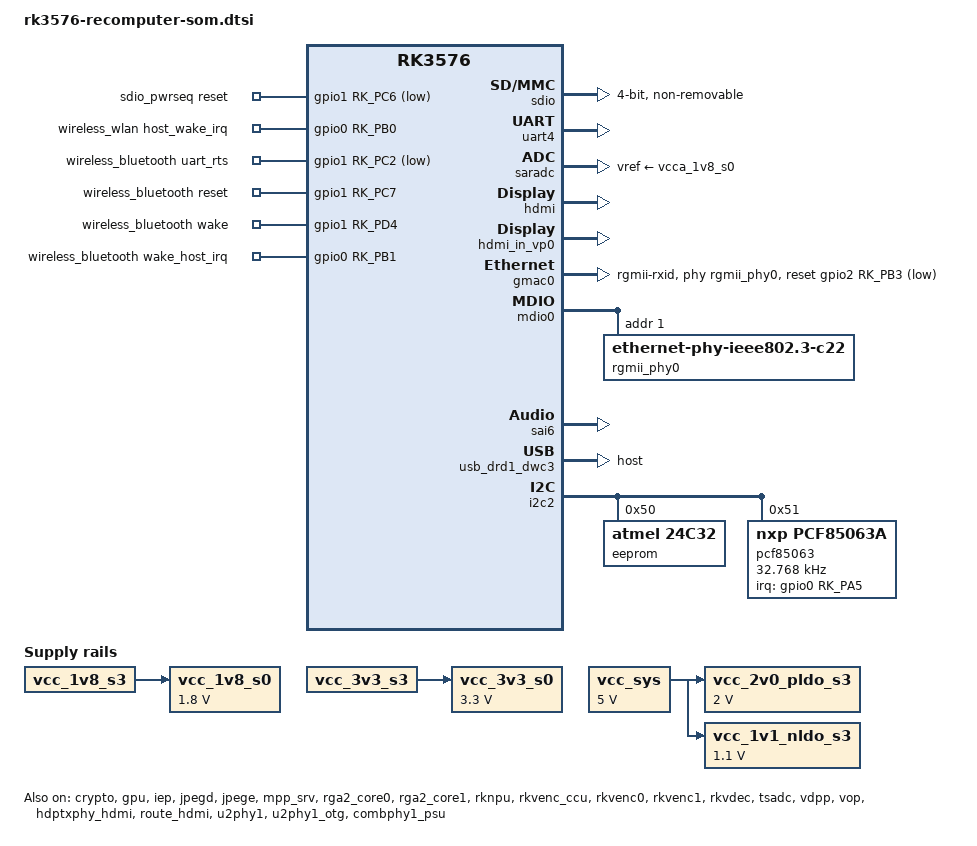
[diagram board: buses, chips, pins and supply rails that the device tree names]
// SPDX-License-Identifier: (GPL-2.0+ OR MIT)
/*
 * reComputer RK3576 SoM (SOM board, 200-pin BTB carrier)
 *
 * On-module devices:
 *   - RK3576 + RK806S PMIC + LPDDR5 + eMMC
 *   - WiFi/BT combo module (FCS960KAAMD, SDIO + UART)
 *   - GMAC0 PHY RTL8211F-CG (RGMII, MDI routed to carrier)
 *   - EEPROM FT24C32A + RTC PCF85063 (shared I2C2_M0)
 *   - HDMI TX (enable/HPD/DDC generated on module)
 *   - USB3 OTG0 (DP alt-mode capable) / USB2 OTG0 / USB2+USB3 OTG1
 *
 * Carrier-board devices belong to the board dts including this file.
 *
 * Copyright (c) 2026 Seeed Studio
 */

#include <dt-bindings/usb/pd.h>
#include <dt-bindings/gpio/gpio.h>
#include <dt-bindings/pwm/pwm.h>
#include <dt-bindings/pinctrl/rockchip.h>
#include <dt-bindings/input/rk-input.h>
#include <dt-bindings/display/drm_mipi_dsi.h>
#include <dt-bindings/display/rockchip_vop.h>
#include <dt-bindings/sensor-dev.h>
#include "rk3576.dtsi"
#include "rk3576-linux.dtsi"
#include "rk3576-rk806.dtsi"

/ {
	vcc_sys: vcc5v0-sys {
		compatible = "regulator-fixed";
		regulator-name = "vcc_sys";
		regulator-always-on;
		regulator-boot-on;
		regulator-min-microvolt = <5000000>;
		regulator-max-microvolt = <5000000>;
	};

	vcc_2v0_pldo_s3: vcc-2v0-pldo-s3 {
		compatible = "regulator-fixed";
		regulator-name = "vcc_2v0_pldo_s3";
		regulator-boot-on;
		regulator-always-on;
		regulator-min-microvolt = <2000000>;
		regulator-max-microvolt = <2000000>;
		vin-supply = <&vcc_sys>;
	};

	vcc_1v1_nldo_s3: vcc-1v1-nldo-s3 {
		compatible = "regulator-fixed";
		regulator-name = "vcc_1v1_nldo_s3";
		regulator-boot-on;
		regulator-always-on;
		regulator-min-microvolt = <1100000>;
		regulator-max-microvolt = <1100000>;
		vin-supply = <&vcc_sys>;
	};

	vcc_1v8_s0: vcc-1v8-s0 {
		compatible = "regulator-fixed";
		regulator-name = "vcc_1v8_s0";
		regulator-boot-on;
		regulator-always-on;
		regulator-min-microvolt = <1800000>;
		regulator-max-microvolt = <1800000>;
		vin-supply = <&vcc_1v8_s3>;
	};

	vcc_3v3_s0: vcc-3v3-s0 {
		compatible = "regulator-fixed";
		regulator-name = "vcc_3v3_s0";
		regulator-boot-on;
		regulator-always-on;
		regulator-min-microvolt = <3300000>;
		regulator-max-microvolt = <3300000>;
		vin-supply = <&vcc_3v3_s3>;
	};

	sdio_pwrseq: sdio-pwrseq {
		compatible = "mmc-pwrseq-simple";
		pinctrl-names = "default";
		pinctrl-0 = <&wifi_poweren_gpio>;

		/* WIFI_REG_ON_H, active low reset (PDN) */
		post-power-on-delay-ms = <200>;
		reset-gpios = <&gpio1 RK_PC6 GPIO_ACTIVE_LOW>;
	};

	wireless_wlan: wireless-wlan {
		compatible = "wlan-platdata";
		wifi_chip_type = "fcs960k";
		clocks = <&pcf85063>;
		clock-names = "ext_clock";
		pinctrl-names = "default";
		pinctrl-0 = <&wifi_host_wake_irq>;
		WIFI,host_wake_irq = <&gpio0 RK_PB0 GPIO_ACTIVE_HIGH>;
	};

	wireless_bluetooth: wireless-bluetooth {
		compatible = "bluetooth-platdata";
		uart_rts_gpios = <&gpio1 RK_PC2 GPIO_ACTIVE_LOW>;
		pinctrl-names = "default", "rts_gpio";
		pinctrl-0 = <&uart4m1_rtsn>;
		pinctrl-1 = <&uart4_gpios>;
		BT,reset_gpio    = <&gpio1 RK_PC7 GPIO_ACTIVE_HIGH>;
		BT,wake_gpio     = <&gpio1 RK_PD4 GPIO_ACTIVE_HIGH>;
		BT,wake_host_irq = <&gpio0 RK_PB1 GPIO_ACTIVE_HIGH>;
		status = "okay";
	};

	hdmi_sound: hdmi-sound {
		compatible = "rockchip,hdmi";
		rockchip,mclk-fs = <128>;
		rockchip,card-name = "rockchip-hdmi0";
		rockchip,cpu = <&sai6>;
		rockchip,codec = <&hdmi>;
		rockchip,jack-det;
	};
};

/*
 * Boot storage on module comes in two mutually exclusive flavors
 * (shared FSPI0/eMMC pads, selected by R591-R596 stuffing):
 *   - eMMC variant (default): see rk3576-recomputer-som-emmc.dtsi
 *   - SPI NOR variant:        see rk3576-recomputer-som-flash.dtsi
 * The board dts includes exactly one of them.
 */

/* WiFi (FCS960KAAMD) */
&sdio {
	max-frequency = <100000000>;
	no-sd;
	no-mmc;
	bus-width = <4>;
	disable-wp;
	cap-sd-highspeed;
	cap-sdio-irq;
	keep-power-in-suspend;
	mmc-pwrseq = <&sdio_pwrseq>;
	non-removable;
	pinctrl-names = "default";
	pinctrl-0 = <&sdmmc1m0_bus4 &sdmmc1m0_clk &sdmmc1m0_cmd>;
	sd-uhs-sdr50;
	sd-uhs-sdr104;
	status = "okay";
};

/* BT */
&uart4 {
	status = "okay";
	pinctrl-names = "default";
	pinctrl-0 = <&uart4m1_xfer &uart4m1_ctsn>;
};

&cpu_l0 {
	cpu-supply = <&vdd_cpu_lit_s0>;
};

&cpu_b0 {
	cpu-supply = <&vdd_cpu_big_s0>;
};

&crypto {
	status = "okay";
};

&gpu {
	mali-supply = <&vdd_gpu_s0>;
	status = "okay";
};

&iep {
	status = "okay";
};

&iep_mmu {
	status = "okay";
};

&jpegd {
	status = "okay";
};

&jpege {
	status = "okay";
};

&jpeg_mmu {
	status = "okay";
};

&mpp_srv {
	status = "okay";
};

&rga2_core0 {
	status = "okay";
};

&rga2_core0_mmu {
	status = "okay";
};

&rga2_core1 {
	status = "okay";
};

&rga2_core1_mmu {
	status = "okay";
};

&rknpu {
	rknpu-supply = <&vdd_npu_s0>;
	status = "okay";
};

&rknpu_mmu {
	status = "okay";
};

&rkvenc_ccu {
	status = "okay";
};

&rkvenc0 {
	status = "okay";
};

&rkvenc0_mmu {
	status = "okay";
};

&rkvenc1 {
	status = "okay";
};

&rkvenc1_mmu {
	status = "okay";
};

&rkvdec {
	status = "okay";
};

&rkvdec_mmu {
	status = "okay";
};

&rockchip_suspend {
	status = "okay";
	rockchip,sleep-debug-en = <1>;

	rockchip,sleep-io-ret-config = <
		(0
		| RKPM_VCCIO3_RET_EN
		)
	>;

	rockchip,regulator-on-before-mem = <&vdd_npu_s0>;
};

&vdd_logic_s0 {
	regulator-state-mem {
		regulator-on-in-suspend;
	};
};

&vcca_1v8_s0 {
	regulator-state-mem {
		regulator-on-in-suspend;
	};
};

&saradc {
	status = "okay";
	vref-supply = <&vcca_1v8_s0>;
};

&tsadc {
	status = "okay";
};

&vdpp {
	status = "okay";
};

&vop {
	status = "okay";
	vop-supply = <&vdd_logic_s0>;
};

&vop_mmu {
	status = "okay";
};

&vp1 {
	assigned-clocks = <&cru DCLK_VP1_SRC>;
	assigned-clock-parents = <&cru PLL_VPLL>;
};

&vp2 {
	assigned-clocks = <&cru DCLK_VP2_SRC>;
	assigned-clock-parents = <&cru PLL_VPLL>;
};

&display_subsystem {
	clocks = <&hdptxphy_hdmi>;
	clock-names = "hdmi0_phy_pll";
};

/* HDMI TX on module, Type-A connector on carrier */
&hdmi {
	status = "okay";
	cec-enable;
	/* HDMI_TX_ON_H */
	enable-gpios = <&gpio2 RK_PB0 GPIO_ACTIVE_HIGH>;
	ddc-i2c-scl-high-time-ns = <4812>;
	ddc-i2c-scl-low-time-ns = <5000>;
};

&hdmi_in_vp0 {
	status = "okay";
};

&hdmi_in_vp1 {
	status = "disabled";
};

&hdmi_in_vp2 {
	status = "disabled";
};

&hdmi_in_vopl {
	status = "disabled";
};

&hdptxphy_hdmi {
	status = "okay";
};

&route_hdmi {
	status = "okay";
	connect = <&vp0_out_hdmi>;
};

&hdmi_sound {
	status = "okay";
};

&vp0 {
	rockchip,plane-mask = <(1 << ROCKCHIP_VOP2_CLUSTER0 | 1 << ROCKCHIP_VOP2_ESMART0)>;
	rockchip,primary-plane = <ROCKCHIP_VOP2_ESMART0>;
	cursor-win-id = <ROCKCHIP_VOP2_CLUSTER0>;
};

&vp1 {
	rockchip,plane-mask = <(1 << ROCKCHIP_VOP2_CLUSTER1 | 1 << ROCKCHIP_VOP2_ESMART1)>;
	rockchip,primary-plane = <ROCKCHIP_VOP2_ESMART1>;
	cursor-win-id = <ROCKCHIP_VOP2_CLUSTER1>;
};

&vp2 {
	rockchip,plane-mask = <(1 << ROCKCHIP_VOP2_ESMART2 | 1 << ROCKCHIP_VOP2_ESMART3)>;
	rockchip,primary-plane = <ROCKCHIP_VOP2_ESMART2>;
	cursor-win-id = <ROCKCHIP_VOP2_ESMART3>;
};

/*
 * GMAC0: RTL8211F-CG on module, RGMII M0.
 * PHY address 0x1 (PHYAD[2:0] = 001), reset GPIO2_B3.
 * 25 MHz crystal on module (REFCLKO25M output not routed, R210 DNP).
 */
&gmac0 {
	phy-mode = "rgmii-rxid";
	clock_in_out = "output";

	snps,reset-gpio = <&gpio2 RK_PB3 GPIO_ACTIVE_LOW>;
	snps,reset-active-low;
	/* Reset time is 20ms, 100ms for rtl8211f */
	snps,reset-delays-us = <0 20000 100000>;

	pinctrl-names = "default";
	pinctrl-0 = <&eth0m0_miim
		     &eth0m0_tx_bus2
		     &eth0m0_rx_bus2
		     &eth0m0_rgmii_clk
		     &eth0m0_rgmii_bus>;

	tx_delay = <0x20>;
	/* rx_delay = <0x3f>; */

	phy-handle = <&rgmii_phy0>;
	status = "okay";
};

&mdio0 {
	rgmii_phy0: phy@1 {
		compatible = "ethernet-phy-ieee802.3-c22";
		realtek,clkout-disable;
		reg = <0x1>;
	};
};

/* HDMI audio I2S */
&sai6 {
	status = "okay";
};

/* USB2/USB3 OTG1: host, carrier may attach a hub (USB5744) */
&u2phy1 {
	status = "okay";
};

&u2phy1_otg {
	phy-supply = <&vcc_3v3_s0>;
	status = "okay";
};

&usb_drd1_dwc3 {
	dr_mode = "host";
	status = "okay";
};

&combphy1_psu {
	status = "okay";
};

/*
 * I2C2_M0: on-module EEPROM (FT24C32A @0x50) + RTC (PCF85063 @0x51).
 * RTC backup: VBAT_RTC from carrier super-capacitor.
 */
&i2c2 {
	status = "okay";
	pinctrl-names = "default";
	pinctrl-0 = <&i2c2m0_xfer>;

	eeprom: ft24c32@50 {
		status = "okay";
		compatible = "atmel,24c32";
		reg = <0x50>;
		pagesize = <32>;
	};

	pcf85063: rtc@51 {
		compatible = "nxp,pcf85063a";
		reg = <0x51>;
		wakeup-source;
		status = "okay";
		interrupt-parent = <&gpio0>;
		interrupts = <RK_PA5 IRQ_TYPE_EDGE_FALLING>;
		pinctrl-names = "default";
		pinctrl-0 = <&rtc_int>;
		#clock-cells = <0>;
		clock-frequency = <32768>;
		clock-output-names = "xin32k";
	};
};

&pinctrl {

	wifi {
		wifi_host_wake_irq: wifi-host-wake-irq {
			rockchip,pins = <0 RK_PB0 RK_FUNC_GPIO &pcfg_pull_down>;
		};

		wifi_poweren_gpio: wifi-poweren-gpio {
			rockchip,pins = <1 RK_PC6 RK_FUNC_GPIO &pcfg_pull_none>;
		};
	};

	wireless-bluetooth {
		uart4_gpios: uart4-gpios {
			rockchip,pins = <1 RK_PC2 RK_FUNC_GPIO &pcfg_pull_none>;
		};
	};

	rtc_pinctrl {
		rtc_int: rtc-int {
			rockchip,pins = <0 RK_PA5 RK_FUNC_GPIO &pcfg_pull_up>;
		};
	};
};
